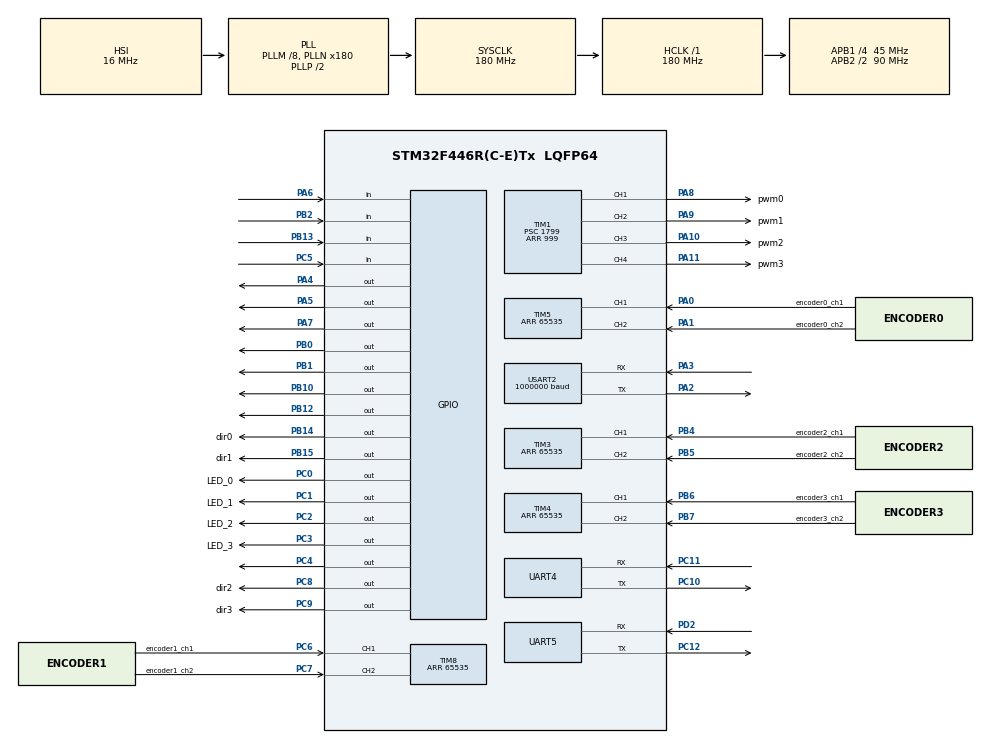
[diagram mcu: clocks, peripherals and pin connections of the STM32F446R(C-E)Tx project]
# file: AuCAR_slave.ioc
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Dma.Request0=USART2_RX
Dma.Request1=USART2_TX
Dma.Request2=UART4_RX
Dma.Request3=UART4_TX
Dma.UART4_RX.2.Direction=DMA_PERIPH_TO_MEMORY
Dma.UART4_RX.2.FIFOMode=DMA_FIFOMODE_DISABLE
Dma.UART4_RX.2.Instance=DMA1_Stream2
Dma.UART4_RX.2.MemDataAlignment=DMA_MDATAALIGN_BYTE
Dma.UART4_RX.2.MemInc=DMA_MINC_ENABLE
Dma.UART4_RX.2.Mode=DMA_CIRCULAR
Dma.UART4_RX.2.PeriphDataAlignment=DMA_PDATAALIGN_BYTE
Dma.UART4_RX.2.PeriphInc=DMA_PINC_DISABLE
Dma.UART4_RX.2.Priority=DMA_PRIORITY_LOW
Dma.UART4_TX.3.Direction=DMA_MEMORY_TO_PERIPH
Dma.UART4_TX.3.FIFOMode=DMA_FIFOMODE_DISABLE
Dma.UART4_TX.3.Instance=DMA1_Stream4
Dma.UART4_TX.3.MemDataAlignment=DMA_MDATAALIGN_BYTE
Dma.UART4_TX.3.MemInc=DMA_MINC_ENABLE
Dma.UART4_TX.3.Mode=DMA_NORMAL
Dma.UART4_TX.3.PeriphDataAlignment=DMA_PDATAALIGN_BYTE
Dma.UART4_TX.3.PeriphInc=DMA_PINC_DISABLE
Dma.UART4_TX.3.Priority=DMA_PRIORITY_LOW
Dma.USART2_RX.0.Direction=DMA_PERIPH_TO_MEMORY
Dma.USART2_RX.0.FIFOMode=DMA_FIFOMODE_DISABLE
Dma.USART2_RX.0.Instance=DMA1_Stream5
Dma.USART2_RX.0.MemDataAlignment=DMA_MDATAALIGN_BYTE
Dma.USART2_RX.0.MemInc=DMA_MINC_ENABLE
Dma.USART2_RX.0.Mode=DMA_CIRCULAR
Dma.USART2_RX.0.PeriphDataAlignment=DMA_PDATAALIGN_BYTE
Dma.USART2_RX.0.PeriphInc=DMA_PINC_DISABLE
Dma.USART2_RX.0.Priority=DMA_PRIORITY_LOW
Dma.USART2_TX.1.Direction=DMA_MEMORY_TO_PERIPH
Dma.USART2_TX.1.FIFOMode=DMA_FIFOMODE_DISABLE
Dma.USART2_TX.1.Instance=DMA1_Stream6
Dma.USART2_TX.1.MemDataAlignment=DMA_MDATAALIGN_BYTE
Dma.USART2_TX.1.MemInc=DMA_MINC_ENABLE
Dma.USART2_TX.1.Mode=DMA_NORMAL
Dma.USART2_TX.1.PeriphDataAlignment=DMA_PDATAALIGN_BYTE
Dma.USART2_TX.1.PeriphInc=DMA_PINC_DISABLE
Dma.USART2_TX.1.Priority=DMA_PRIORITY_LOW
Mcu.Family=STM32F4
Mcu.Name=STM32F446R(C-E)Tx
Mcu.Package=LQFP64
NVIC.DMA1_Stream2_IRQn=true\:0\:0\:false\:false\:true\:false\:true
NVIC.DMA1_Stream4_IRQn=true\:0\:0\:false\:false\:true\:false\:true
NVIC.DMA1_Stream5_IRQn=true\:0\:0\:false\:false\:true\:false\:true
NVIC.DMA1_Stream6_IRQn=true\:0\:0\:false\:false\:true\:false\:true
NVIC.PriorityGroup=NVIC_PRIORITYGROUP_4
NVIC.RCC_IRQn=true\:0\:0\:false\:false\:true\:true\:false
NVIC.TIM1_UP_TIM10_IRQn=true\:0\:0\:false\:false\:true\:true\:true
NVIC.TIM6_DAC_IRQn=true\:0\:0\:false\:false\:true\:true\:true
NVIC.TIM7_IRQn=true\:0\:0\:false\:false\:true\:true\:true
NVIC.TIM8_TRG_COM_TIM14_IRQn=true\:0\:0\:false\:false\:true\:true\:true
NVIC.UART4_IRQn=true\:0\:0\:false\:false\:true\:true\:true
NVIC.UART5_IRQn=true\:0\:0\:false\:false\:true\:true\:true
NVIC.USART2_IRQn=true\:0\:0\:false\:false\:true\:true\:true
PA0-WKUP.GPIO_Label=encoder0_ch1
PA0-WKUP.GPIO_PuPd=GPIO_PULLUP
PA0-WKUP.Signal=S_TIM5_CH1
PA1.GPIO_Label=encoder0_ch2
PA1.GPIO_PuPd=GPIO_PULLUP
PA1.Signal=S_TIM5_CH2
PA10.GPIO_Label=pwm2
PA10.Signal=S_TIM1_CH3
PA11.GPIO_Label=pwm3
PA11.Signal=S_TIM1_CH4
PA13.Mode=Serial_Wire
PA13.Signal=SYS_JTMS-SWDIO
PA14.Mode=Serial_Wire
PA14.Signal=SYS_JTCK-SWCLK
PA2.Mode=Asynchronous
PA2.Signal=USART2_TX
PA3.Mode=Asynchronous
PA3.Signal=USART2_RX
PA4.Signal=GPIO_Output
PA5.Signal=GPIO_Output
PA6.GPIO_PuPd=GPIO_PULLDOWN
PA6.Signal=GPIO_Input
PA7.Signal=GPIO_Output
PA8.GPIO_Label=pwm0
PA8.Signal=S_TIM1_CH1
PA9.GPIO_Label=pwm1
PA9.Signal=S_TIM1_CH2
PB0.Signal=GPIO_Output
PB1.Signal=GPIO_Output
PB10.Signal=GPIO_Output
PB12.Signal=GPIO_Output
PB13.GPIO_PuPd=GPIO_PULLDOWN
PB13.Signal=GPIO_Input
PB14.GPIO_Label=dir0
PB14.Signal=GPIO_Output
PB15.GPIO_Label=dir1
PB15.Signal=GPIO_Output
PB2.GPIO_PuPd=GPIO_PULLDOWN
PB2.Signal=GPIO_Input
PB4.GPIO_Label=encoder2_ch1
PB4.GPIO_PuPd=GPIO_PULLUP
PB4.Signal=S_TIM3_CH1
PB5.GPIO_Label=encoder2_ch2
PB5.GPIO_PuPd=GPIO_PULLUP
PB5.Signal=S_TIM3_CH2
PB6.GPIO_Label=encoder3_ch1
PB6.GPIO_PuPd=GPIO_PULLUP
PB6.Signal=S_TIM4_CH1
PB7.GPIO_Label=encoder3_ch2
PB7.GPIO_PuPd=GPIO_PULLUP
PB7.Signal=S_TIM4_CH2
PC0.GPIO_Label=LED_0
PC0.Signal=GPIO_Output
PC1.GPIO_Label=LED_1
PC1.Signal=GPIO_Output
PC10.Mode=Asynchronous
PC10.Signal=UART4_TX
PC11.Mode=Asynchronous
PC11.Signal=UART4_RX
PC12.Mode=Asynchronous
PC12.Signal=UART5_TX
PC2.GPIO_Label=LED_2
PC2.Signal=GPIO_Output
PC3.GPIO_Label=LED_3
PC3.Signal=GPIO_Output
PC4.Signal=GPIO_Output
PC5.GPIO_PuPd=GPIO_PULLDOWN
PC5.Signal=GPIO_Input
PC6.GPIO_Label=encoder1_ch1
PC6.GPIO_PuPd=GPIO_PULLUP
PC6.Signal=S_TIM8_CH1
PC7.GPIO_Label=encoder1_ch2
PC7.GPIO_PuPd=GPIO_PULLUP
PC7.Signal=S_TIM8_CH2
PC8.GPIO_Label=dir2
PC8.Signal=GPIO_Output
PC9.GPIO_Label=dir3
PC9.Signal=GPIO_Output
PD2.Mode=Asynchronous
PD2.Signal=UART5_RX
PH0-OSC_IN.Mode=HSE-External-Oscillator
PH0-OSC_IN.Signal=RCC_OSC_IN
PH1-OSC_OUT.Mode=HSE-External-Oscillator
PH1-OSC_OUT.Signal=RCC_OSC_OUT
ProjectManager.HeapSize=0x200
ProjectManager.StackSize=0x400
ProjectManager.TargetToolchain=STM32CubeIDE
RCC.AHBFreq_Value=180000000
RCC.APB1CLKDivider=RCC_HCLK_DIV4
RCC.APB1Freq_Value=45000000
RCC.APB1TimFreq_Value=90000000
RCC.APB2CLKDivider=RCC_HCLK_DIV2
RCC.APB2Freq_Value=90000000
RCC.APB2TimFreq_Value=180000000
RCC.CortexFreq_Value=180000000
RCC.HCLKFreq_Value=180000000
RCC.HSE_VALUE=16000000
RCC.PLLM=8
RCC.PLLN=180
RCC.SYSCLKFreq_VALUE=180000000
RCC.SYSCLKSource=RCC_SYSCLKSOURCE_PLLCLK
RCC.USBFreq_Value=180000000
RCC.VCOOutputFreq_Value=360000000
SH.S_TIM1_CH1.0=TIM1_CH1,PWM Generation1 CH1
SH.S_TIM1_CH2.0=TIM1_CH2,PWM Generation2 CH2
SH.S_TIM1_CH3.0=TIM1_CH3,PWM Generation3 CH3
SH.S_TIM1_CH4.0=TIM1_CH4,PWM Generation4 CH4
SH.S_TIM3_CH1.0=TIM3_CH1,Encoder_Interface
SH.S_TIM3_CH2.0=TIM3_CH2,Encoder_Interface
SH.S_TIM4_CH1.0=TIM4_CH1,Encoder_Interface
SH.S_TIM4_CH2.0=TIM4_CH2,Encoder_Interface
SH.S_TIM5_CH1.0=TIM5_CH1,Encoder_Interface
SH.S_TIM5_CH2.0=TIM5_CH2,Encoder_Interface
SH.S_TIM8_CH1.0=TIM8_CH1,Encoder_Interface
SH.S_TIM8_CH2.0=TIM8_CH2,Encoder_Interface
TIM1.AutoReloadPreload=TIM_AUTORELOAD_PRELOAD_ENABLE
TIM1.Channel-PWM\ Generation1\ CH1=TIM_CHANNEL_1
TIM1.Channel-PWM\ Generation2\ CH2=TIM_CHANNEL_2
TIM1.Channel-PWM\ Generation3\ CH3=TIM_CHANNEL_3
TIM1.Channel-PWM\ Generation4\ CH4=TIM_CHANNEL_4
TIM1.Period=999
TIM1.Prescaler=1799
TIM1.Pulse-PWM\ Generation1\ CH1=100
TIM1.Pulse-PWM\ Generation2\ CH2=100
TIM1.Pulse-PWM\ Generation3\ CH3=100
TIM1.Pulse-PWM\ Generation4\ CH4=100
TIM10.Period=1
TIM10.Prescaler=1799
TIM14.Period=9
TIM14.Prescaler=89
TIM3.EncoderMode=TIM_ENCODERMODE_TI12
TIM3.IC1Filter=5
TIM3.IC2Filter=5
TIM3.Period=65535
TIM4.EncoderMode=TIM_ENCODERMODE_TI12
TIM4.IC1Filter=5
TIM4.IC2Filter=5
TIM4.Period=65535
TIM5.EncoderMode=TIM_ENCODERMODE_TI12
TIM5.IC1Filter=5
TIM5.IC2Filter=5
TIM5.Period=65535
TIM6.Period=9999
TIM6.Prescaler=8999
TIM7.Period=1999
TIM7.Prescaler=899
TIM8.EncoderMode=TIM_ENCODERMODE_TI12
TIM8.IC1Filter=0
TIM8.IC2Filter=0
TIM8.Period=65535
UART4.VirtualMode=Asynchronous
UART5.VirtualMode=Asynchronous
USART2.BaudRate=1000000
USART2.OverSampling=UART_OVERSAMPLING_16
USART2.VirtualMode=VM_ASYNC
VP_TIM10_VS_ClockSourceINT.Mode=Enable_Timer
VP_TIM14_VS_ClockSourceINT.Mode=Enable_Timer
VP_TIM6_VS_ClockSourceINT.Mode=Enable_Timer
VP_TIM7_VS_ClockSourceINT.Mode=Enable_Timer
board=custom

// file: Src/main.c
/* USER CODE BEGIN Header */
/**
  ******************************************************************************
  * @file           : main.c
  * @brief          : Main program body
  ******************************************************************************
  * @attention
  *
  * <h2><center>&copy; Copyright (c) 2019 STMicroelectronics.
  * All rights reserved.</center></h2>
  *
  * This software component is licensed by ST under BSD 3-Clause license,
  * the "License"; You may not use this file except in compliance with the
  * License. You may obtain a copy of the License at:
  *                        opensource.org/licenses/BSD-3-Clause
  *
  ******************************************************************************
  */
/* USER CODE END Header */

#include "main.h"
#include "dma.h"
#include "tim.h"
#include "usart.h"
#include "gpio.h"

/* USER CODE BEGIN Includes */
#include "slave_main.h"
/* USER CODE END Includes */

void SystemClock_Config(void);

/* USER CODE BEGIN 0 */
int __io_putchar(int ch)
{
	//__usart2.write((uint8_t*)ch, 1);
	__printf__io__putchar(ch);
	return ch;
}
/* USER CODE END 0 */

int main(void)
{

  /* MCU Configuration--------------------------------------------------------*/

  /* Reset of all peripherals, Initializes the Flash interface and the Systick. */
  HAL_Init();

  /* Configure the system clock */
  SystemClock_Config();

  /* Initialize all configured peripherals */
  MX_GPIO_Init();
  MX_DMA_Init();
  MX_TIM1_Init();
  MX_TIM3_Init();
  MX_TIM4_Init();
  MX_TIM5_Init();
  MX_TIM8_Init();
  MX_UART4_Init();
  MX_UART5_Init();
  MX_USART2_UART_Init();
  MX_TIM6_Init();
  MX_TIM7_Init();
  MX_TIM14_Init();
  MX_TIM10_Init();
  /* USER CODE BEGIN 2 */

  HAL_TIM_Base_Start_IT(&htim6);
  HAL_TIM_Base_Start_IT(&htim7);
  HAL_TIM_Base_Start_IT(&htim14);

  HAL_TIM_PWM_Start(&htim1, TIM_CHANNEL_1);
  HAL_TIMEx_PWMN_Start(&htim1, TIM_CHANNEL_1);
  HAL_TIM_PWM_Start(&htim1, TIM_CHANNEL_2);
  HAL_TIMEx_PWMN_Start(&htim1, TIM_CHANNEL_2);
  HAL_TIM_PWM_Start(&htim1, TIM_CHANNEL_3);
  HAL_TIMEx_PWMN_Start(&htim1, TIM_CHANNEL_3);
  HAL_TIM_PWM_Start(&htim1, TIM_CHANNEL_4);
  HAL_TIMEx_PWMN_Start(&htim1, TIM_CHANNEL_4);

  HAL_TIM_Encoder_Start(&htim3,TIM_CHANNEL_ALL);
  HAL_TIM_Encoder_Start(&htim4,TIM_CHANNEL_ALL);
  HAL_TIM_Encoder_Start(&htim5,TIM_CHANNEL_ALL);
  HAL_TIM_Encoder_Start(&htim8,TIM_CHANNEL_ALL);

  TIM1->CCR1 = 0;
  TIM1->CCR2 = 0;
  TIM1->CCR3 = 0;
  TIM1->CCR4 = 0;

  init();
  /* USER CODE END 2 */

  /* Infinite loop */
  while (1)
  {

    /* USER CODE BEGIN 3 */

//	  HAL_UART_Receive_IT(&huart2, rxData, 1);
//
//	  current_tick = HAL_GetTick();
//
//	  if(current_tick - past_tick >= 2)
//	  {
//		  HAL_UART_Transmit(&huart2, sendData, sizeof(sendData), 0xFFFF);
//		  past_tick = current_tick;
//	  }
	  run();

	  //uart rx tx callback check;
  }
  /* USER CODE END 3 */
}

void SystemClock_Config(void)
{
  RCC_OscInitTypeDef RCC_OscInitStruct = {0};
  RCC_ClkInitTypeDef RCC_ClkInitStruct = {0};

  /** Configure the main internal regulator output voltage
  */
  __HAL_RCC_PWR_CLK_ENABLE();
  __HAL_PWR_VOLTAGESCALING_CONFIG(PWR_REGULATOR_VOLTAGE_SCALE1);
  /** Initializes the CPU, AHB and APB busses clocks
  */
  RCC_OscInitStruct.OscillatorType = RCC_OSCILLATORTYPE_HSI;
  RCC_OscInitStruct.HSIState = RCC_HSI_ON;
  RCC_OscInitStruct.HSICalibrationValue = RCC_HSICALIBRATION_DEFAULT;
  RCC_OscInitStruct.PLL.PLLState = RCC_PLL_ON;
  RCC_OscInitStruct.PLL.PLLSource = RCC_PLLSOURCE_HSI;
  RCC_OscInitStruct.PLL.PLLM = 8;
  RCC_OscInitStruct.PLL.PLLN = 180;
  RCC_OscInitStruct.PLL.PLLP = RCC_PLLP_DIV2;
  RCC_OscInitStruct.PLL.PLLQ = 2;
  RCC_OscInitStruct.PLL.PLLR = 2;
  if (HAL_RCC_OscConfig(&RCC_OscInitStruct) != HAL_OK)
  {
    Error_Handler();
  }
  /** Activate the Over-Drive mode
  */
  if (HAL_PWREx_EnableOverDrive() != HAL_OK)
  {
    Error_Handler();
  }
  /** Initializes the CPU, AHB and APB busses clocks
  */
  RCC_ClkInitStruct.ClockType = RCC_CLOCKTYPE_HCLK|RCC_CLOCKTYPE_SYSCLK
                              |RCC_CLOCKTYPE_PCLK1|RCC_CLOCKTYPE_PCLK2;
  RCC_ClkInitStruct.SYSCLKSource = RCC_SYSCLKSOURCE_PLLCLK;
  RCC_ClkInitStruct.AHBCLKDivider = RCC_SYSCLK_DIV1;
  RCC_ClkInitStruct.APB1CLKDivider = RCC_HCLK_DIV4;
  RCC_ClkInitStruct.APB2CLKDivider = RCC_HCLK_DIV2;

  if (HAL_RCC_ClockConfig(&RCC_ClkInitStruct, FLASH_LATENCY_5) != HAL_OK)
  {
    Error_Handler();
  }
}

void Error_Handler(void)
{
}

/************************ (C) COPYRIGHT STMicroelectronics *****END OF FILE****/
